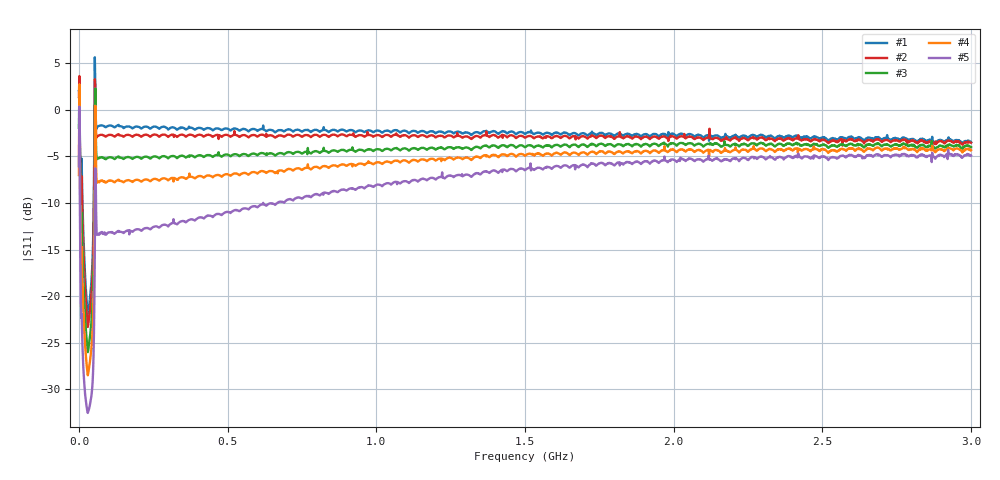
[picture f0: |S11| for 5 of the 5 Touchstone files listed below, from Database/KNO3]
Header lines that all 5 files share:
# HZ S RI R 50
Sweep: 10 kHz to 3 GHz
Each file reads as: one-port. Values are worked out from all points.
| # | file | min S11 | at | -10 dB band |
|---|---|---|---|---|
| 1 | 0.5%.s1p | -22.1 dB | 29.73 MHz | 37.86 MHz wide |
| 2 | 1.0%.s1p | -23.3 dB | 29.73 MHz | 39.87 MHz wide |
| 3 | 2.0%.s1p | -26.0 dB | 29.73 MHz | 46.61 MHz wide |
| 4 | 3.0%.s1p | -28.5 dB | 29.73 MHz | 48.38 MHz wide |
| 5 | 5.0%.s1p | -32.5 dB | 29.73 MHz | 561.9 MHz wide |
